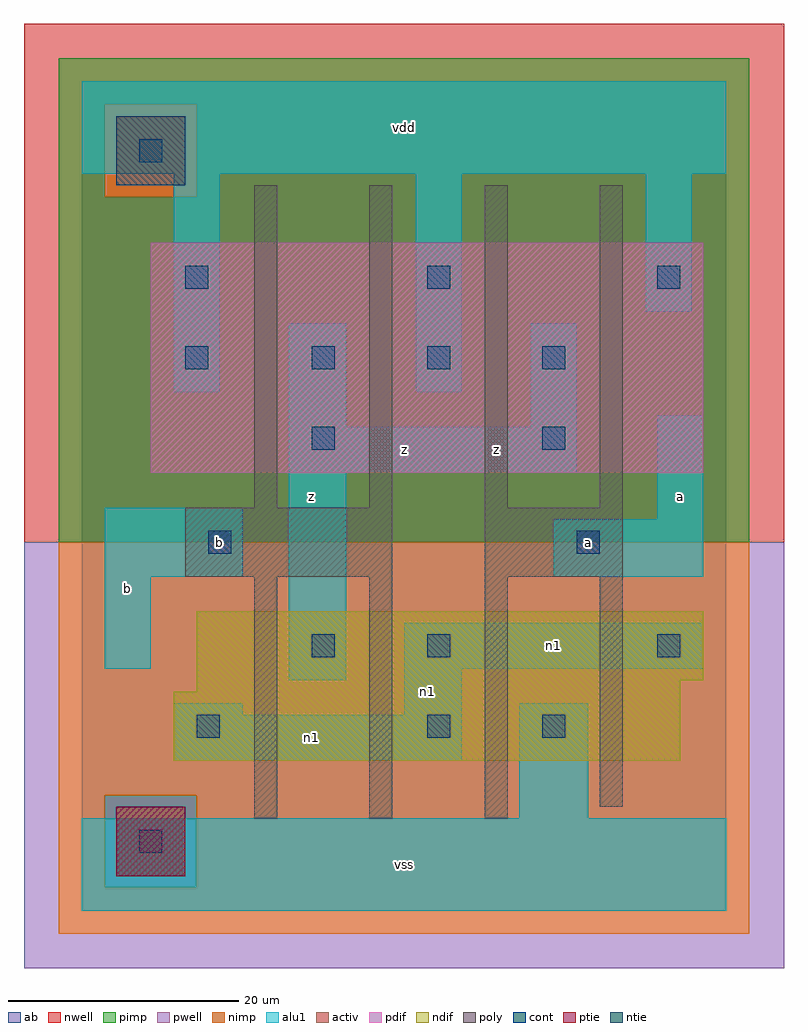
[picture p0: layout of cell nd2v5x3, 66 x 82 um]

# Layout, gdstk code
import gdstk
lib = gdstk.Library(unit=1e-6, precision=1e-09)
def R(c, l, rs):  # rectangles x0, y0, x1, y1
    for r in rs: c.add(gdstk.rectangle(r[:2], r[2:], *l))
def A(c, l, x, y, w, h, nx, ny, dx, dy):  # array of equal rectangles
    R(c, l, [(x+i*dx, y+j*dy, x+i*dx+w, y+j*dy+h) for i in range(nx) for j in range(ny)])
ndif = (3, 0)
pdif = (4, 0)
ntie = (5, 0)
ptie = (6, 0)
cont = (25, 0)
pwell = (41, 0)
nwell = (42, 0)
activ = (43, 0)
pimp = (44, 0)
nimp = (45, 0)
poly = (46, 0)
alu1 = (49, 0)
ab = (63, 0)

nd2v5x3 = lib.new_cell('nd2v5x3')
R(nd2v5x3, ndif, [(8,13,52,19), (10,19,52,20), (10,20,54,26)])
R(nd2v5x3, pdif, [(6,38,54,58)])
R(nd2v5x3, ntie, [(3,63,9,69)])
R(nd2v5x3, ptie, [(3,3,9,9)])
A(nd2v5x3, cont, 20, 47, 2, 2, 3, 1, 10, 0)
R(nd2v5x3, cont, [(5,5,7,7), (10,15,12,17), (30,15,32,17), (40,15,42,17), (20,22,22,24), (30,22,32,24), (50,22,52,24), (11,31,13,33), (43,31,45,33), (20,40,22,42), (40,40,42,42), (9,47,11,49), (9,54,11,56), (30,54,32,56), (50,54,52,56), (5,65,7,67)])
R(nd2v5x3, pwell, [(-5,-5,61,32)])
R(nd2v5x3, nwell, [(-5,32,61,77)])
R(nd2v5x3, activ, [(3,3,9,9), (8,13,52,19), (10,19,52,20), (10,20,54,26), (6,38,54,58), (3,63,9,69)])
R(nd2v5x3, pimp, [(2,2,10,10), (-2,32,58,62), (-2,62,2,70), (10,62,58,70), (-2,70,58,74)])
R(nd2v5x3, nimp, [(-2,-2,58,2), (-2,2,2,10), (10,2,58,10), (-2,10,58,32), (2,62,10,70)])
A(nd2v5x3, poly, 15, 8, 2, 21, 3, 1, 10, 0)
A(nd2v5x3, poly, 15, 35, 2, 28, 4, 1, 10, 0)
R(nd2v5x3, poly, [(45,9,47,29), (9,29,27,35), (35,29,47,35)])
R(nd2v5x3, alu1, [(0,0,56,8), (38,8,44,18), (8,13,33,17), (8,17,14,18), (28,17,33,21), (18,20,23,38), (2,21,6,29), (28,21,54,25), (2,29,14,35), (41,29,54,34), (50,34,54,43), (18,38,43,42), (18,42,23,51), (39,42,43,51), (8,45,12,64), (29,45,33,64), (49,52,53,64), (0,64,56,72)])
R(nd2v5x3, ab, [(0,0,56,72)])
nd2v5x3.add(gdstk.Label('n1', (20,15), layer=49, texttype=0))
nd2v5x3.add(gdstk.Label('n1', (30,19), layer=49, texttype=0))
nd2v5x3.add(gdstk.Label('n1', (41,23), layer=49, texttype=0))
nd2v5x3.add(gdstk.Label('b', (4,28), layer=49, texttype=0))
nd2v5x3.add(gdstk.Label('b', (12,32), layer=49, texttype=0))
nd2v5x3.add(gdstk.Label('z', (20,36), layer=49, texttype=0))
nd2v5x3.add(gdstk.Label('vss', (28,4), layer=49, texttype=0))
nd2v5x3.add(gdstk.Label('z', (36,40), layer=49, texttype=0))
nd2v5x3.add(gdstk.Label('z', (28,40), layer=49, texttype=0))
nd2v5x3.add(gdstk.Label('vdd', (28,68), layer=49, texttype=0))
nd2v5x3.add(gdstk.Label('a', (44,32), layer=49, texttype=0))
nd2v5x3.add(gdstk.Label('a', (52,36), layer=49, texttype=0))

lib.write_gds('nd2v5x3.gds')
